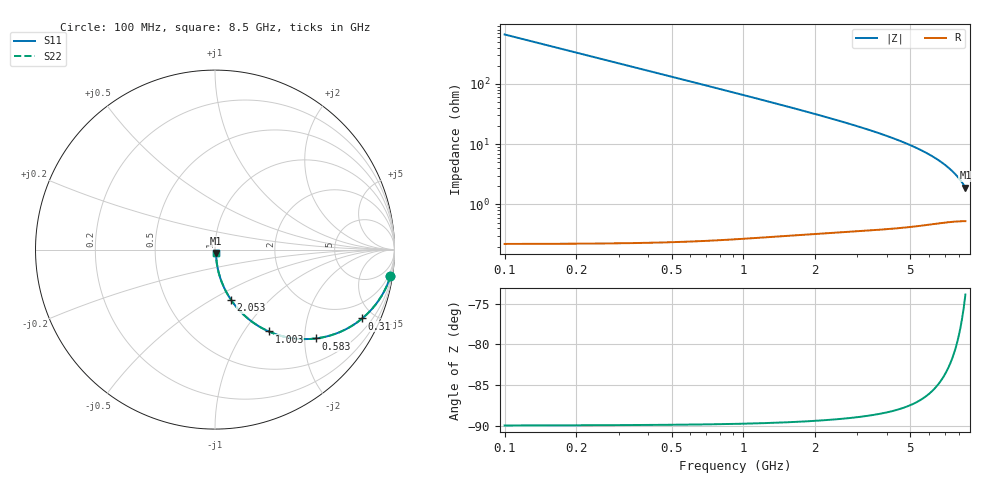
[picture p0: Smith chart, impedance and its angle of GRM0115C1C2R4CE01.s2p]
!Murata Part Number: GRM0115C1C2R4CE01
!These Parameters are Measured in Series Mode Connection
!Data Generated on Mar 30, 2021
!  o--ll--o
!Port1  Port2
!  o------o
!Operation Temp=25[degC], DC Bias Voltage=0[V]
!Freq. Start=100[MHz] Stop=9[GHz] 401[Steps]
# Hz S RI R 50
!Freq.(Hz) S11(Real) S11(Imag) S21(Real) S21(Imag) S12(Real) S12(Imag) S22(Real) S22(Imag)
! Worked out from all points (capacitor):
!   401 points, 100 MHz to 8.5 GHz, reference 50 ohm
!   read as one part in series: C = 2.4 pF near 142 MHz
!   lowest |Z| = 1.91 ohm at 8.5 GHz (marker M1)
!   S11 on the Smith chart (normalised r, x): 100 MHz: 1, -13; 310 MHz: 1.00, -4.27; 583 MHz: 1.00, -2.27; 1.003 GHz: 1.01, -1.31; 2.053 GHz: 1.01, -0.62; 8.5 GHz: 1.01, -0.04
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1e8  0.9777 -0.1474  0.0223 0.1474  0.0223 0.1474  0.9777 -0.1474
1.21e8  0.9677 -0.1766  0.0323 0.1766  0.0323 0.1766  0.9677 -0.1766
1.63e8  0.9429 -0.2318  0.0571 0.2318  0.0571 0.2318  0.9429 -0.2318
2.05e8  0.9125 -0.2822  0.0875 0.2822  0.0875 0.2822  0.9125 -0.2822
2.47e8  0.8778 -0.3271  0.1222 0.3271  0.1222 0.3271  0.8778 -0.3271
3.1e8  0.8201 -0.3836  0.1799 0.3836  0.1799 0.3836  0.8201 -0.3836
3.73e8  0.7588 -0.4272  0.2412 0.4272  0.2412 0.4272  0.7588 -0.4272
4.36e8  0.6969 -0.4588  0.3031 0.4588  0.3031 0.4588  0.6969 -0.4588
5.83e8  0.5619 -0.4951  0.4381 0.4951  0.4381 0.4951  0.5619 -0.4951
7.93e8  0.4081 -0.49  0.5919 0.49  0.5919 0.49  0.4081 -0.49
1.003e9  0.2999 -0.4561  0.7001 0.4561  0.7001 0.4561  0.2999 -0.4561
1.234e9  0.2191 -0.411  0.7809 0.411  0.7809 0.411  0.2191 -0.411
1.507e9  0.1569 -0.3602  0.8431 0.3602  0.8431 0.3602  0.1569 -0.3602
1.759e9  0.1189 -0.3194  0.8811 0.3194  0.8811 0.3194  0.1189 -0.3194
2.053e9  0.0889 -0.2793  0.9111 0.2793  0.9111 0.2793  0.0889 -0.2793
2.914e9  0.0439 -0.1963  0.9561 0.1963  0.9561 0.1963  0.0439 -0.1963
4.3e9  0.0187 -0.1202  0.9813 0.1202  0.9813 0.1202  0.0187 -0.1202
5.707e9  0.01 -0.074  0.99 0.074  0.99 0.074  0.01 -0.074
6.484e9  0.00787 -0.0552  0.9921 0.0552  0.9921 0.0552  0.00787 -0.0552
7.114e9  0.00681 -0.0421  0.9932 0.0421  0.9932 0.0421  0.00681 -0.0421
7.849e9  0.00603 -0.0287  0.994 0.0287  0.994 0.0287  0.00603 -0.0287
8.5e9  0.00559 -0.0181  0.9944 0.0181  0.9944 0.0181  0.00559 -0.0181
